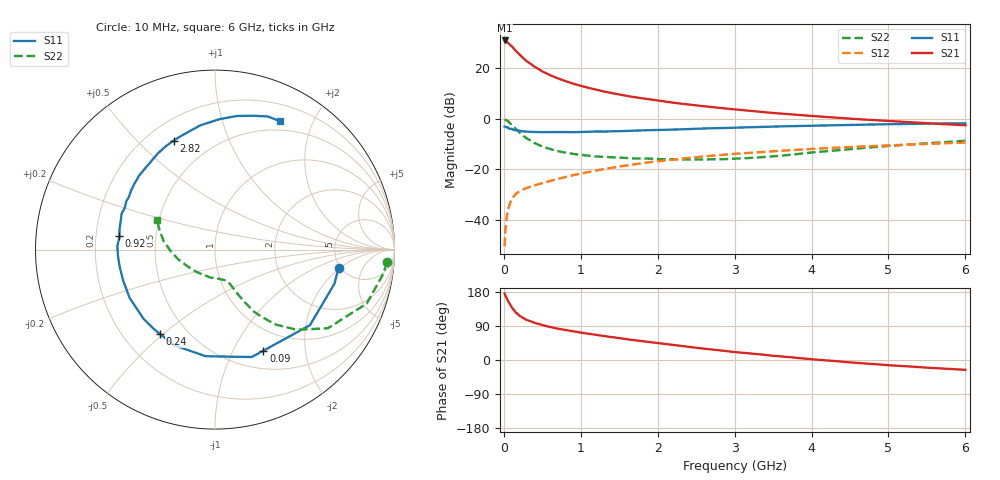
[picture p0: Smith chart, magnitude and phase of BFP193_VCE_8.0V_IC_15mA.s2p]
! Infineon Technologies  Discrete & RF Semiconductors
! BFP193
! VCE = 8.0 V,  IC =  15 mA
! Common Emitter S-Parameters:  Jan 2016
# GHz  S  MA  R  50
!  f  S11  S21  S12  S22
! GHz  MAG  ANG  MAG  ANG  MAG  ANG  MAG  ANG
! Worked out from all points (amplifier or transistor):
!   210 points, 10 MHz to 6 GHz, reference 50 ohm
!   highest |S21| = 30.9 dB at 10 MHz (marker M1)
!   |S21| within 3 dB of that: start of sweep to 123.2 MHz
!   unconditionally stable (mu >= 1): 895.2 MHz to 3.841 GHz
!   at 185 MHz: K = 0.40, MSG = 27.5 dB, |S12| = -29.1 dB
!   at 1.52 GHz: K = 1.08, MAG = 12.5 dB, |S12| = -18.9 dB
!   at 6 GHz: K = 0.92, MSG = 3.4 dB, |S12| = -9.5 dB
!   S11 on the Smith chart (normalised r, x): 10 MHz: 4.82, -1.88; 90 MHz: 0.72, -1.32; 240 MHz: 0.35, -0.49; 920 MHz: 0.30, +0.07; 2.82 GHz: 0.31, +0.65; 6 GHz: 0.39, +1.56
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0.01  0.696 -8.3  35.09 175.4  0.003 87.6  0.9601 -4.2
0.02  0.6921 -15.9  34.03 169.7  0.0063 80.6  0.9478 -8.1
0.05  0.6763 -38.5  32.06 157.0  0.0147 74.1  0.8974 -19.6
0.09  0.6243 -64.4  28.03 143.4  0.0233 63.0  0.7874 -31.5
0.1  0.6326 -71.1  27.31 139.4  0.0255 61.4  0.7661 -34.9
0.15  0.5962 -94.9  22.34 126.2  0.032 53.2  0.6372 -44.5
0.2  0.5796 -112.5  18.74 117.2  0.0362 49.4  0.5369 -51.0
0.24  0.5618 -123.2  16.33 111.9  0.039 47.9  0.4732 -54.2
0.26  0.558 -127.9  15.31 109.4  0.0403 47.4  0.4471 -55.7
0.3  0.5544 -135.8  13.55 105.4  0.0427 47.2  0.4054 -58.0
0.4  0.5464 -150.7  10.59 98.0  0.0478 47.1  0.328 -61.0
0.5  0.54 -161.4  8.581 92.0  0.053 48.6  0.2792 -62.8
0.7  0.542 -176.4  6.262 82.7  0.0641 50.9  0.2272 -65.2
0.92  0.5387 171.8  4.809 74.9  0.0771 52.1  0.1984 -67.6
1.02  0.5451 166.7  4.362 71.6  0.0827 52.7  0.1903 -69.0
1.4  0.5625 151.7  3.192 60.5  0.1062 52.5  0.1725 -76.1
2.02  0.5952 132.1  2.246 44.1  0.1445 48.4  0.1579 -93.3
2.82  0.6495 110.7  1.62 25.2  0.1907 40.8  0.1566 -123.0
3.1  0.6662 104.7  1.471 19.2  0.2057 37.9  0.1637 -133.8
4.1  0.7311 86.7  1.101 0.5  0.2559 27.5  0.2194 -168.7
5.1  0.7784 73.2  0.878 -14.9  0.2995 17.1  0.2957 168.7
6  0.8026 63.1  0.739 -25.9  0.3365 7.8  0.3641 152.7
